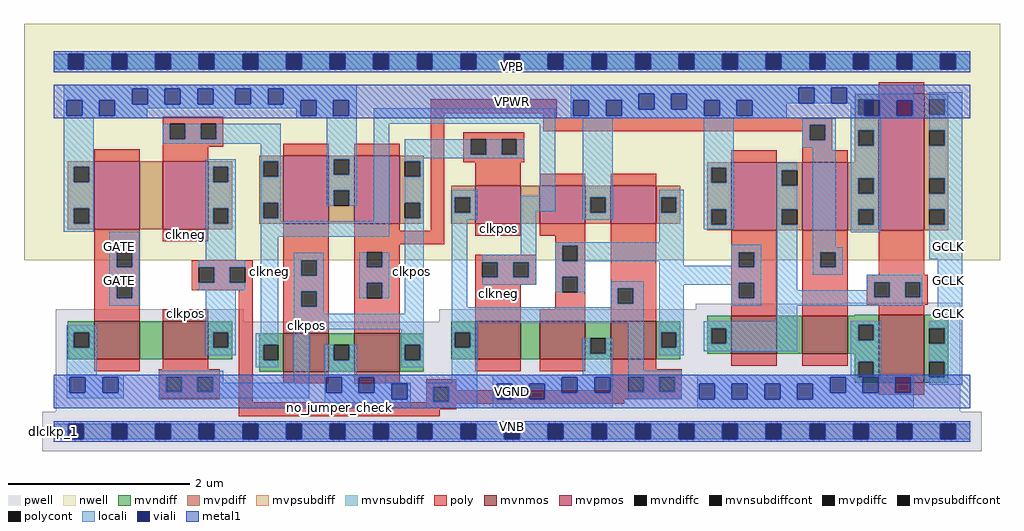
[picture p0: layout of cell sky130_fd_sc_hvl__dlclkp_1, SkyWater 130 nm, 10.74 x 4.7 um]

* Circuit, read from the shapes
.subckt sky130_fd_sc_hvl__dlclkp_1 CLK GATE VGND VNB VPB VPWR GCLK
XM1 n1 GATE VGND VNB sky130_fd_pr__nfet_g5v0d10v5 w=0.42 l=0.5
XM2 n2 n3 n1 VNB sky130_fd_pr__nfet_g5v0d10v5 w=0.42 l=0.5
XM3 VGND n3 n4 VNB sky130_fd_pr__nfet_g5v0d10v5 w=0.42 l=0.5
XM4 n3 CLK VGND VNB sky130_fd_pr__nfet_g5v0d10v5 w=0.42 l=0.5
XM5 n5 n4 n2 VNB sky130_fd_pr__nfet_g5v0d10v5 w=0.42 l=0.5
XM6 VGND n6 n5 VNB sky130_fd_pr__nfet_g5v0d10v5 w=0.42 l=0.5
XM7 n6 n2 VGND VNB sky130_fd_pr__nfet_g5v0d10v5 w=0.42 l=0.5
XM8 n7 n6 n8 VNB sky130_fd_pr__nfet_g5v0d10v5 w=0.42 l=0.5
XM9 VGND CLK n7 VNB sky130_fd_pr__nfet_g5v0d10v5 w=0.42 l=0.5
XM10 GCLK n8 VGND VNB sky130_fd_pr__nfet_g5v0d10v5 w=0.75 l=0.5
XM11 n9 GATE VPWR VPB sky130_fd_pr__pfet_g5v0d10v5 w=0.75 l=0.5
XM12 n2 n4 n9 VPB sky130_fd_pr__pfet_g5v0d10v5 w=0.75 l=0.5
XM13 VPWR n3 n4 VPB sky130_fd_pr__pfet_g5v0d10v5 w=0.75 l=0.5
XM14 n3 CLK VPWR VPB sky130_fd_pr__pfet_g5v0d10v5 w=0.75 l=0.5
XM15 n10 n3 n2 VPB sky130_fd_pr__pfet_g5v0d10v5 w=0.42 l=0.5
XM16 VPWR n6 n10 VPB sky130_fd_pr__pfet_g5v0d10v5 w=0.42 l=0.5
XM17 n6 n2 VPWR VPB sky130_fd_pr__pfet_g5v0d10v5 w=0.42 l=0.5
XM18 n8 n6 VPWR VPB sky130_fd_pr__pfet_g5v0d10v5 w=0.75 l=0.5
XM19 VPWR CLK n8 VPB sky130_fd_pr__pfet_g5v0d10v5 w=0.75 l=0.5
XM20 GCLK n8 VPWR VPB sky130_fd_pr__pfet_g5v0d10v5 w=1.5 l=0.5
.ends

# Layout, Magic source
magic
tech sky130B
magscale 1 2
<< nwell >>
rect -66 377 2082 897
<< pwell >>
rect 1736 281 1994 283
rect 1412 269 1994 281
rect 4 242 418 269
rect 848 242 1994 269
rect 4 43 1994 242
rect -26 -43 2042 43
<< mvnmos >>
rect 89 159 189 243
rect 239 159 339 243
rect 505 132 605 216
rect 661 132 761 216
rect 927 159 1027 243
rect 1069 159 1169 243
rect 1225 159 1325 243
rect 1491 171 1591 255
rect 1647 171 1747 255
rect 1815 107 1915 257
<< mvpmos >>
rect 89 445 189 595
rect 239 445 339 595
rect 505 457 605 607
rect 661 457 761 607
rect 927 457 1027 541
rect 1069 457 1169 541
rect 1225 457 1325 541
rect 1491 443 1591 593
rect 1647 443 1747 593
rect 1815 443 1915 743
<< mvndiff >>
rect 30 218 89 243
rect 30 184 44 218
rect 78 184 89 218
rect 30 159 89 184
rect 189 159 239 243
rect 339 218 392 243
rect 339 184 350 218
rect 384 184 392 218
rect 339 159 392 184
rect 1762 255 1815 257
rect 874 218 927 243
rect 452 191 505 216
rect 452 157 460 191
rect 494 157 505 191
rect 452 132 505 157
rect 605 191 661 216
rect 605 157 616 191
rect 650 157 661 191
rect 605 132 661 157
rect 761 191 814 216
rect 761 157 772 191
rect 806 157 814 191
rect 874 184 882 218
rect 916 184 927 218
rect 874 159 927 184
rect 1027 159 1069 243
rect 1169 205 1225 243
rect 1169 171 1180 205
rect 1214 171 1225 205
rect 1169 159 1225 171
rect 1325 218 1378 243
rect 1325 184 1336 218
rect 1370 184 1378 218
rect 1325 159 1378 184
rect 1438 227 1491 255
rect 1438 193 1446 227
rect 1480 193 1491 227
rect 1438 171 1491 193
rect 1591 171 1647 255
rect 1747 235 1815 255
rect 1747 201 1770 235
rect 1804 201 1815 235
rect 1747 171 1815 201
rect 761 132 814 157
rect 1762 153 1815 171
rect 1762 119 1770 153
rect 1804 119 1815 153
rect 1762 107 1815 119
rect 1915 227 1968 257
rect 1915 193 1926 227
rect 1960 193 1968 227
rect 1915 153 1968 193
rect 1915 119 1926 153
rect 1960 119 1968 153
rect 1915 107 1968 119
<< mvpdiff >>
rect 1762 731 1815 743
rect 452 595 505 607
rect 30 583 89 595
rect 30 549 44 583
rect 78 549 89 583
rect 30 491 89 549
rect 30 457 44 491
rect 78 457 89 491
rect 30 445 89 457
rect 189 445 239 595
rect 339 583 392 595
rect 339 549 350 583
rect 384 549 392 583
rect 339 491 392 549
rect 339 457 350 491
rect 384 457 392 491
rect 452 561 460 595
rect 494 561 505 595
rect 452 503 505 561
rect 452 469 460 503
rect 494 469 505 503
rect 452 457 505 469
rect 605 599 661 607
rect 605 565 616 599
rect 650 565 661 599
rect 605 531 661 565
rect 605 497 616 531
rect 650 497 661 531
rect 605 457 661 497
rect 761 595 814 607
rect 761 561 772 595
rect 806 561 814 595
rect 761 503 814 561
rect 761 469 772 503
rect 806 469 814 503
rect 761 457 814 469
rect 339 445 392 457
rect 1762 697 1770 731
rect 1804 697 1815 731
rect 1762 663 1815 697
rect 1762 629 1770 663
rect 1804 629 1815 663
rect 1762 593 1815 629
rect 1438 581 1491 593
rect 1438 547 1446 581
rect 1480 547 1491 581
rect 874 516 927 541
rect 874 482 882 516
rect 916 482 927 516
rect 874 457 927 482
rect 1027 457 1069 541
rect 1169 516 1225 541
rect 1169 482 1180 516
rect 1214 482 1225 516
rect 1169 457 1225 482
rect 1325 516 1378 541
rect 1325 482 1336 516
rect 1370 482 1378 516
rect 1325 457 1378 482
rect 1438 489 1491 547
rect 1438 455 1446 489
rect 1480 455 1491 489
rect 1438 443 1491 455
rect 1591 575 1647 593
rect 1591 541 1602 575
rect 1636 541 1647 575
rect 1591 489 1647 541
rect 1591 455 1602 489
rect 1636 455 1647 489
rect 1591 443 1647 455
rect 1747 557 1815 593
rect 1747 523 1770 557
rect 1804 523 1815 557
rect 1747 489 1815 523
rect 1747 455 1770 489
rect 1804 455 1815 489
rect 1747 443 1815 455
rect 1915 731 1968 743
rect 1915 697 1926 731
rect 1960 697 1968 731
rect 1915 663 1968 697
rect 1915 629 1926 663
rect 1960 629 1968 663
rect 1915 557 1968 629
rect 1915 523 1926 557
rect 1960 523 1968 557
rect 1915 489 1968 523
rect 1915 455 1926 489
rect 1960 455 1968 489
rect 1915 443 1968 455
<< mvndiffc >>
rect 44 184 78 218
rect 350 184 384 218
rect 460 157 494 191
rect 616 157 650 191
rect 772 157 806 191
rect 882 184 916 218
rect 1180 171 1214 205
rect 1336 184 1370 218
rect 1446 193 1480 227
rect 1770 201 1804 235
rect 1770 119 1804 153
rect 1926 193 1960 227
rect 1926 119 1960 153
<< mvpdiffc >>
rect 44 549 78 583
rect 44 457 78 491
rect 350 549 384 583
rect 350 457 384 491
rect 460 561 494 595
rect 460 469 494 503
rect 616 565 650 599
rect 616 497 650 531
rect 772 561 806 595
rect 772 469 806 503
rect 1770 697 1804 731
rect 1770 629 1804 663
rect 1446 547 1480 581
rect 882 482 916 516
rect 1180 482 1214 516
rect 1336 482 1370 516
rect 1446 455 1480 489
rect 1602 541 1636 575
rect 1602 455 1636 489
rect 1770 523 1804 557
rect 1770 455 1804 489
rect 1926 697 1960 731
rect 1926 629 1960 663
rect 1926 523 1960 557
rect 1926 455 1960 489
<< mvpsubdiff >>
rect 0 -17 31 17
rect 65 -17 127 17
rect 161 -17 223 17
rect 257 -17 319 17
rect 353 -17 415 17
rect 449 -17 511 17
rect 545 -17 607 17
rect 641 -17 703 17
rect 737 -17 799 17
rect 833 -17 895 17
rect 929 -17 991 17
rect 1025 -17 1087 17
rect 1121 -17 1183 17
rect 1217 -17 1279 17
rect 1313 -17 1375 17
rect 1409 -17 1471 17
rect 1505 -17 1567 17
rect 1601 -17 1663 17
rect 1697 -17 1759 17
rect 1793 -17 1855 17
rect 1889 -17 1951 17
rect 1985 -17 2016 17
<< mvnsubdiff >>
rect 0 797 31 831
rect 65 797 127 831
rect 161 797 223 831
rect 257 797 319 831
rect 353 797 415 831
rect 449 797 511 831
rect 545 797 607 831
rect 641 797 703 831
rect 737 797 799 831
rect 833 797 895 831
rect 929 797 991 831
rect 1025 797 1087 831
rect 1121 797 1183 831
rect 1217 797 1279 831
rect 1313 797 1375 831
rect 1409 797 1471 831
rect 1505 797 1567 831
rect 1601 797 1663 831
rect 1697 797 1759 831
rect 1793 797 1855 831
rect 1889 797 1951 831
rect 1985 797 2016 831
<< mvpsubdiffcont >>
rect 31 -17 65 17
rect 127 -17 161 17
rect 223 -17 257 17
rect 319 -17 353 17
rect 415 -17 449 17
rect 511 -17 545 17
rect 607 -17 641 17
rect 703 -17 737 17
rect 799 -17 833 17
rect 895 -17 929 17
rect 991 -17 1025 17
rect 1087 -17 1121 17
rect 1183 -17 1217 17
rect 1279 -17 1313 17
rect 1375 -17 1409 17
rect 1471 -17 1505 17
rect 1567 -17 1601 17
rect 1663 -17 1697 17
rect 1759 -17 1793 17
rect 1855 -17 1889 17
rect 1951 -17 1985 17
<< mvnsubdiffcont >>
rect 31 797 65 831
rect 127 797 161 831
rect 223 797 257 831
rect 319 797 353 831
rect 415 797 449 831
rect 511 797 545 831
rect 607 797 641 831
rect 703 797 737 831
rect 799 797 833 831
rect 895 797 929 831
rect 991 797 1025 831
rect 1087 797 1121 831
rect 1183 797 1217 831
rect 1279 797 1313 831
rect 1375 797 1409 831
rect 1471 797 1505 831
rect 1567 797 1601 831
rect 1663 797 1697 831
rect 1759 797 1793 831
rect 1855 797 1889 831
rect 1951 797 1985 831
<< poly >>
rect 1815 743 1915 769
rect 829 701 1107 731
rect 239 677 373 693
rect 239 643 255 677
rect 289 643 323 677
rect 357 643 373 677
rect 239 627 373 643
rect 89 595 189 621
rect 239 595 339 627
rect 505 607 605 633
rect 661 607 761 633
rect 89 395 189 445
rect 239 419 339 445
rect 89 361 138 395
rect 172 361 189 395
rect 505 377 605 457
rect 89 327 189 361
rect 89 293 138 327
rect 172 293 189 327
rect 303 361 437 377
rect 303 327 319 361
rect 353 327 387 361
rect 421 327 437 361
rect 303 311 437 327
rect 89 243 189 293
rect 239 243 339 269
rect 89 133 189 159
rect 239 137 339 159
rect 231 121 365 137
rect 231 87 247 121
rect 281 87 315 121
rect 349 87 365 121
rect 231 71 365 87
rect 407 64 437 311
rect 505 343 544 377
rect 578 343 605 377
rect 505 309 605 343
rect 505 275 544 309
rect 578 275 605 309
rect 505 216 605 275
rect 661 442 761 457
rect 829 442 859 701
rect 1077 691 1107 701
rect 1077 675 1713 691
rect 1077 661 1663 675
rect 901 643 1035 659
rect 901 609 917 643
rect 951 609 985 643
rect 1019 609 1035 643
rect 1647 641 1663 661
rect 1697 641 1713 675
rect 1647 619 1713 641
rect 901 593 1035 609
rect 1491 593 1591 619
rect 1647 593 1747 619
rect 927 541 1027 593
rect 1069 541 1169 567
rect 1225 541 1325 567
rect 661 412 859 442
rect 927 431 1027 457
rect 1069 431 1169 457
rect 661 395 761 412
rect 661 361 688 395
rect 722 361 761 395
rect 1103 409 1169 431
rect 661 327 761 361
rect 661 293 688 327
rect 722 293 761 327
rect 661 216 761 293
rect 927 373 1061 389
rect 927 339 943 373
rect 977 339 1011 373
rect 1045 339 1061 373
rect 927 323 1061 339
rect 1103 375 1119 409
rect 1153 375 1169 409
rect 1103 341 1169 375
rect 927 243 1027 323
rect 1103 307 1119 341
rect 1153 307 1169 341
rect 1103 269 1169 307
rect 1069 243 1169 269
rect 1225 315 1325 457
rect 1225 281 1241 315
rect 1275 281 1325 315
rect 1225 243 1325 281
rect 1491 395 1591 443
rect 1491 361 1507 395
rect 1541 361 1591 395
rect 1491 327 1591 361
rect 1491 293 1507 327
rect 1541 293 1591 327
rect 1491 255 1591 293
rect 1647 395 1747 443
rect 1647 361 1686 395
rect 1720 361 1747 395
rect 1647 255 1747 361
rect 1815 345 1915 443
rect 1789 329 1923 345
rect 1789 295 1805 329
rect 1839 295 1873 329
rect 1907 295 1923 329
rect 1789 279 1923 295
rect 1815 257 1915 279
rect 927 133 1027 159
rect 1069 133 1169 159
rect 1225 137 1325 159
rect 1491 145 1591 171
rect 1647 145 1747 171
rect 505 106 605 132
rect 661 106 761 132
rect 1225 121 1382 137
rect 819 99 885 115
rect 819 65 835 99
rect 869 91 885 99
rect 1225 91 1264 121
rect 869 87 1264 91
rect 1298 87 1332 121
rect 1366 87 1382 121
rect 869 71 1382 87
rect 1815 81 1915 107
rect 869 65 1255 71
rect 819 64 1255 65
rect 407 61 1255 64
rect 407 49 885 61
rect 407 34 849 49
<< polycont >>
rect 255 643 289 677
rect 323 643 357 677
rect 138 361 172 395
rect 138 293 172 327
rect 319 327 353 361
rect 387 327 421 361
rect 247 87 281 121
rect 315 87 349 121
rect 544 343 578 377
rect 544 275 578 309
rect 917 609 951 643
rect 985 609 1019 643
rect 1663 641 1697 675
rect 688 361 722 395
rect 688 293 722 327
rect 943 339 977 373
rect 1011 339 1045 373
rect 1119 375 1153 409
rect 1119 307 1153 341
rect 1241 281 1275 315
rect 1507 361 1541 395
rect 1507 293 1541 327
rect 1686 361 1720 395
rect 1805 295 1839 329
rect 1873 295 1907 329
rect 835 65 869 99
rect 1264 87 1298 121
rect 1332 87 1366 121
<< locali >>
rect 0 797 31 831
rect 65 797 127 831
rect 161 797 223 831
rect 257 797 319 831
rect 353 797 415 831
rect 449 797 511 831
rect 545 797 607 831
rect 641 797 703 831
rect 737 797 799 831
rect 833 797 895 831
rect 929 797 991 831
rect 1025 797 1087 831
rect 1121 797 1183 831
rect 1217 797 1279 831
rect 1313 797 1375 831
rect 1409 797 1471 831
rect 1505 797 1567 831
rect 1601 797 1663 831
rect 1697 797 1759 831
rect 1793 797 1855 831
rect 1889 797 1951 831
rect 1985 797 2016 831
rect 22 754 666 763
rect 22 729 172 754
rect 22 695 28 729
rect 62 695 100 729
rect 134 720 172 729
rect 206 720 244 754
rect 278 720 316 754
rect 350 720 399 754
rect 433 720 471 754
rect 505 729 666 754
rect 505 720 543 729
rect 134 711 543 720
rect 134 695 205 711
rect 22 689 205 695
rect 533 695 543 711
rect 577 695 615 729
rect 649 695 666 729
rect 1137 757 1892 763
rect 1137 743 1639 757
rect 1137 729 1287 743
rect 533 689 666 695
rect 22 583 88 689
rect 239 643 255 677
rect 289 643 323 677
rect 357 643 499 677
rect 239 633 499 643
rect 22 549 44 583
rect 78 549 88 583
rect 22 491 88 549
rect 22 457 44 491
rect 78 457 88 491
rect 22 440 88 457
rect 334 583 400 599
rect 334 549 350 583
rect 384 549 400 583
rect 334 491 400 549
rect 334 457 350 491
rect 384 457 400 491
rect 122 395 188 440
rect 122 361 138 395
rect 172 361 188 395
rect 334 377 400 457
rect 455 595 499 633
rect 455 561 460 595
rect 494 561 499 595
rect 455 503 499 561
rect 455 469 460 503
rect 494 469 499 503
rect 600 599 666 689
rect 600 565 616 599
rect 650 565 666 599
rect 600 531 666 565
rect 600 497 616 531
rect 650 497 666 531
rect 704 677 1103 711
rect 1137 695 1143 729
rect 1177 695 1215 729
rect 1249 709 1287 729
rect 1321 709 1359 743
rect 1393 729 1639 743
rect 1393 709 1431 729
rect 1249 695 1431 709
rect 1465 695 1503 729
rect 1537 723 1639 729
rect 1673 723 1711 757
rect 1745 731 1892 757
rect 1745 723 1770 731
rect 1804 729 1892 731
rect 1537 695 1613 723
rect 1137 689 1613 695
rect 1754 697 1770 723
rect 1754 695 1783 697
rect 1817 695 1855 729
rect 1889 695 1892 729
rect 1754 689 1892 695
rect 1926 731 1999 747
rect 1960 697 1999 731
rect 455 463 499 469
rect 704 463 738 677
rect 455 429 738 463
rect 772 609 917 643
rect 951 609 985 643
rect 1019 609 1035 643
rect 772 601 1035 609
rect 772 595 814 601
rect 806 561 814 595
rect 772 503 814 561
rect 806 469 814 503
rect 122 327 188 361
rect 122 293 138 327
rect 172 293 188 327
rect 319 361 421 377
rect 353 327 387 361
rect 319 311 421 327
rect 122 277 188 293
rect 28 218 94 234
rect 28 184 44 218
rect 78 184 94 218
rect 28 125 94 184
rect 334 218 400 311
rect 334 184 350 218
rect 384 184 400 218
rect 455 216 494 429
rect 334 168 400 184
rect 444 191 494 216
rect 444 157 460 191
rect 444 141 494 157
rect 528 377 594 393
rect 528 343 544 377
rect 578 343 594 377
rect 528 309 594 343
rect 528 275 544 309
rect 578 275 594 309
rect 672 361 688 395
rect 722 361 738 395
rect 672 327 738 361
rect 672 293 688 327
rect 722 293 738 327
rect 528 259 594 275
rect 772 259 814 469
rect 528 225 814 259
rect 28 119 153 125
rect 28 85 35 119
rect 69 85 107 119
rect 141 85 153 119
rect 28 73 153 85
rect 231 121 373 134
rect 231 87 247 121
rect 281 87 315 121
rect 349 107 373 121
rect 528 107 562 225
rect 764 191 814 225
rect 349 87 562 107
rect 231 73 562 87
rect 596 157 616 191
rect 650 157 666 191
rect 596 125 666 157
rect 764 157 772 191
rect 806 157 814 191
rect 764 141 814 157
rect 875 516 932 532
rect 1069 519 1103 677
rect 875 482 882 516
rect 916 482 932 516
rect 875 466 932 482
rect 1027 485 1103 519
rect 1164 516 1230 689
rect 1430 581 1496 689
rect 1647 675 1720 689
rect 1647 641 1663 675
rect 1697 641 1720 675
rect 1647 625 1720 641
rect 1430 547 1446 581
rect 1480 547 1496 581
rect 875 273 909 466
rect 1027 389 1061 485
rect 1164 482 1180 516
rect 1214 482 1230 516
rect 1164 466 1230 482
rect 1332 516 1386 532
rect 1332 482 1336 516
rect 1370 482 1386 516
rect 1332 417 1386 482
rect 1430 489 1496 547
rect 1430 455 1446 489
rect 1480 455 1496 489
rect 1430 445 1496 455
rect 1591 575 1636 591
rect 1591 541 1602 575
rect 1591 489 1636 541
rect 1591 455 1602 489
rect 943 373 1061 389
rect 977 339 1011 373
rect 1045 339 1061 373
rect 943 323 1061 339
rect 1103 409 1386 417
rect 1103 375 1119 409
rect 1153 375 1386 409
rect 1103 341 1169 375
rect 1103 307 1119 341
rect 1153 307 1169 341
rect 1332 365 1386 375
rect 1491 395 1557 411
rect 1491 365 1507 395
rect 1332 361 1507 365
rect 1541 361 1557 395
rect 1225 315 1298 331
rect 1225 281 1241 315
rect 1275 281 1298 315
rect 1225 273 1298 281
rect 875 239 1298 273
rect 875 218 932 239
rect 875 184 882 218
rect 916 184 932 218
rect 596 119 730 125
rect 596 85 599 119
rect 633 85 671 119
rect 705 107 730 119
rect 875 107 932 184
rect 1164 171 1180 205
rect 1214 171 1230 205
rect 1164 125 1230 171
rect 705 105 785 107
rect 705 85 743 105
rect 596 71 743 85
rect 777 71 785 105
rect 596 51 785 71
rect 819 99 932 107
rect 819 65 835 99
rect 869 65 932 99
rect 819 51 932 65
rect 966 119 1230 125
rect 966 105 1118 119
rect 966 71 974 105
rect 1008 71 1046 105
rect 1080 85 1118 105
rect 1152 85 1190 119
rect 1224 85 1230 119
rect 1080 71 1230 85
rect 1264 134 1298 239
rect 1332 327 1557 361
rect 1332 323 1507 327
rect 1332 218 1386 323
rect 1491 293 1507 323
rect 1541 293 1557 327
rect 1491 277 1557 293
rect 1591 311 1636 455
rect 1670 405 1720 625
rect 1754 663 1820 689
rect 1754 629 1770 663
rect 1804 629 1820 663
rect 1754 557 1820 629
rect 1754 523 1770 557
rect 1804 523 1820 557
rect 1754 489 1820 523
rect 1754 455 1770 489
rect 1804 455 1820 489
rect 1754 439 1820 455
rect 1926 663 1999 697
rect 1960 629 1999 663
rect 1926 557 1999 629
rect 1960 523 1999 557
rect 1926 489 1999 523
rect 1960 455 1999 489
rect 1670 395 1736 405
rect 1670 361 1686 395
rect 1720 361 1736 395
rect 1926 379 1999 455
rect 1670 345 1736 361
rect 1789 329 1911 345
rect 1789 311 1805 329
rect 1591 295 1805 311
rect 1839 295 1873 329
rect 1907 295 1911 329
rect 1591 277 1911 295
rect 1591 243 1636 277
rect 1945 243 1999 379
rect 1332 184 1336 218
rect 1370 184 1386 218
rect 1332 168 1386 184
rect 1430 227 1636 243
rect 1430 193 1446 227
rect 1480 193 1636 227
rect 1430 177 1636 193
rect 1754 235 1820 243
rect 1754 201 1770 235
rect 1804 201 1820 235
rect 1754 153 1820 201
rect 1264 121 1382 134
rect 1754 125 1770 153
rect 1298 87 1332 121
rect 1366 87 1382 121
rect 1264 71 1382 87
rect 1416 119 1770 125
rect 1804 125 1820 153
rect 1926 227 1999 243
rect 1960 193 1999 227
rect 1926 153 1999 193
rect 1804 119 1892 125
rect 1416 105 1708 119
rect 1416 71 1420 105
rect 1454 71 1492 105
rect 1526 71 1564 105
rect 1598 71 1636 105
rect 1670 85 1708 105
rect 1742 85 1780 119
rect 1814 85 1852 119
rect 1886 85 1892 119
rect 1960 119 1999 153
rect 1926 103 1999 119
rect 1670 71 1892 85
rect 966 51 1230 71
rect 1416 51 1892 71
rect 0 -17 31 17
rect 65 -17 127 17
rect 161 -17 223 17
rect 257 -17 319 17
rect 353 -17 415 17
rect 449 -17 511 17
rect 545 -17 607 17
rect 641 -17 703 17
rect 737 -17 799 17
rect 833 -17 895 17
rect 929 -17 991 17
rect 1025 -17 1087 17
rect 1121 -17 1183 17
rect 1217 -17 1279 17
rect 1313 -17 1375 17
rect 1409 -17 1471 17
rect 1505 -17 1567 17
rect 1601 -17 1663 17
rect 1697 -17 1759 17
rect 1793 -17 1855 17
rect 1889 -17 1951 17
rect 1985 -17 2016 17
<< viali >>
rect 31 797 65 831
rect 127 797 161 831
rect 223 797 257 831
rect 319 797 353 831
rect 415 797 449 831
rect 511 797 545 831
rect 607 797 641 831
rect 703 797 737 831
rect 799 797 833 831
rect 895 797 929 831
rect 991 797 1025 831
rect 1087 797 1121 831
rect 1183 797 1217 831
rect 1279 797 1313 831
rect 1375 797 1409 831
rect 1471 797 1505 831
rect 1567 797 1601 831
rect 1663 797 1697 831
rect 1759 797 1793 831
rect 1855 797 1889 831
rect 1951 797 1985 831
rect 28 695 62 729
rect 100 695 134 729
rect 172 720 206 754
rect 244 720 278 754
rect 316 720 350 754
rect 399 720 433 754
rect 471 720 505 754
rect 543 695 577 729
rect 615 695 649 729
rect 1143 695 1177 729
rect 1215 695 1249 729
rect 1287 709 1321 743
rect 1359 709 1393 743
rect 1431 695 1465 729
rect 1503 695 1537 729
rect 1639 723 1673 757
rect 1711 723 1745 757
rect 1783 697 1804 729
rect 1804 697 1817 729
rect 1783 695 1817 697
rect 1855 695 1889 729
rect 35 85 69 119
rect 107 85 141 119
rect 599 85 633 119
rect 671 85 705 119
rect 743 71 777 105
rect 974 71 1008 105
rect 1046 71 1080 105
rect 1118 85 1152 119
rect 1190 85 1224 119
rect 1420 71 1454 105
rect 1492 71 1526 105
rect 1564 71 1598 105
rect 1636 71 1670 105
rect 1708 85 1742 119
rect 1780 85 1814 119
rect 1852 85 1886 119
rect 31 -17 65 17
rect 127 -17 161 17
rect 223 -17 257 17
rect 319 -17 353 17
rect 415 -17 449 17
rect 511 -17 545 17
rect 607 -17 641 17
rect 703 -17 737 17
rect 799 -17 833 17
rect 895 -17 929 17
rect 991 -17 1025 17
rect 1087 -17 1121 17
rect 1183 -17 1217 17
rect 1279 -17 1313 17
rect 1375 -17 1409 17
rect 1471 -17 1505 17
rect 1567 -17 1601 17
rect 1663 -17 1697 17
rect 1759 -17 1793 17
rect 1855 -17 1889 17
rect 1951 -17 1985 17
<< metal1 >>
rect 0 831 2016 837
rect 0 797 31 831
rect 65 797 127 831
rect 161 797 223 831
rect 257 797 319 831
rect 353 797 415 831
rect 449 797 511 831
rect 545 797 607 831
rect 641 797 703 831
rect 737 797 799 831
rect 833 797 895 831
rect 929 797 991 831
rect 1025 797 1087 831
rect 1121 797 1183 831
rect 1217 797 1279 831
rect 1313 797 1375 831
rect 1409 797 1471 831
rect 1505 797 1567 831
rect 1601 797 1663 831
rect 1697 797 1759 831
rect 1793 797 1855 831
rect 1889 797 1951 831
rect 1985 797 2016 831
rect 0 791 2016 797
rect 0 757 2016 763
rect 0 754 1639 757
rect 0 729 172 754
rect 0 695 28 729
rect 62 695 100 729
rect 134 720 172 729
rect 206 720 244 754
rect 278 720 316 754
rect 350 720 399 754
rect 433 720 471 754
rect 505 743 1639 754
rect 505 729 1287 743
rect 505 720 543 729
rect 134 695 543 720
rect 577 695 615 729
rect 649 695 1143 729
rect 1177 695 1215 729
rect 1249 709 1287 729
rect 1321 709 1359 743
rect 1393 729 1639 743
rect 1393 709 1431 729
rect 1249 695 1431 709
rect 1465 695 1503 729
rect 1537 723 1639 729
rect 1673 723 1711 757
rect 1745 729 2016 757
rect 1745 723 1783 729
rect 1537 695 1783 723
rect 1817 695 1855 729
rect 1889 695 2016 729
rect 0 689 2016 695
rect 0 119 2016 125
rect 0 85 35 119
rect 69 85 107 119
rect 141 85 599 119
rect 633 85 671 119
rect 705 105 1118 119
rect 705 85 743 105
rect 0 71 743 85
rect 777 71 974 105
rect 1008 71 1046 105
rect 1080 85 1118 105
rect 1152 85 1190 119
rect 1224 105 1708 119
rect 1224 85 1420 105
rect 1080 71 1420 85
rect 1454 71 1492 105
rect 1526 71 1564 105
rect 1598 71 1636 105
rect 1670 85 1708 105
rect 1742 85 1780 119
rect 1814 85 1852 119
rect 1886 85 2016 119
rect 1670 71 2016 85
rect 0 51 2016 71
rect 0 17 2016 23
rect 0 -17 31 17
rect 65 -17 127 17
rect 161 -17 223 17
rect 257 -17 319 17
rect 353 -17 415 17
rect 449 -17 511 17
rect 545 -17 607 17
rect 641 -17 703 17
rect 737 -17 799 17
rect 833 -17 895 17
rect 929 -17 991 17
rect 1025 -17 1087 17
rect 1121 -17 1183 17
rect 1217 -17 1279 17
rect 1313 -17 1375 17
rect 1409 -17 1471 17
rect 1505 -17 1567 17
rect 1601 -17 1663 17
rect 1697 -17 1759 17
rect 1793 -17 1855 17
rect 1889 -17 1951 17
rect 1985 -17 2016 17
rect 0 -23 2016 -17
<< labels >>
flabel comment s 978 303 978 303 0 FreeSans 200 0 0 0 clkneg
flabel comment s 556 234 556 234 0 FreeSans 200 0 0 0 clkpos
flabel comment s 978 446 978 446 0 FreeSans 200 0 0 0 clkpos
rlabel comment s 0 0 0 0 4 dlclkp_1
flabel comment s 474 352 474 352 0 FreeSans 200 90 0 0 clkneg
flabel comment s 290 259 290 259 0 FreeSans 200 0 0 0 clkpos
flabel comment s 786 352 786 352 0 FreeSans 200 90 0 0 clkpos
flabel comment s 290 434 290 434 0 FreeSans 200 0 0 0 clkneg
flabel comment s 629 53 629 53 0 FreeSans 200 0 0 0 no_jumper_check
flabel metal1 s 0 51 2016 125 0 FreeSans 340 0 0 0 VGND
port 3 nsew ground bidirectional
flabel metal1 s 0 0 2016 23 0 FreeSans 340 0 0 0 VNB
port 4 nsew ground bidirectional
flabel metal1 s 0 689 2016 763 0 FreeSans 340 0 0 0 VPWR
port 6 nsew power bidirectional
flabel metal1 s 0 791 2016 814 0 FreeSans 340 0 0 0 VPB
port 5 nsew power bidirectional
flabel locali s 127 316 161 350 0 FreeSans 340 0 0 0 GATE
port 2 nsew signal input
flabel locali s 703 316 737 350 0 FreeSans 340 0 0 0 CLK
port 1 nsew clock input
flabel locali s 1951 390 1985 424 0 FreeSans 340 0 0 0 GCLK
port 7 nsew signal output
flabel locali s 1951 316 1985 350 0 FreeSans 340 0 0 0 GCLK
port 7 nsew signal output
flabel locali s 1951 242 1985 276 0 FreeSans 340 0 0 0 GCLK
port 7 nsew signal output
flabel locali s 127 390 161 424 0 FreeSans 340 0 0 0 GATE
port 2 nsew signal input
<< properties >>
string FIXED_BBOX 0 0 2016 814
string GDS_END 1183864
string GDS_FILE $PDKPATH/libs.ref/sky130_fd_sc_hvl/gds/sky130_fd_sc_hvl.gds
string GDS_START 1159928
string LEFclass CORE
string LEFsite unithv
string LEFsymmetry X Y
<< end >>
